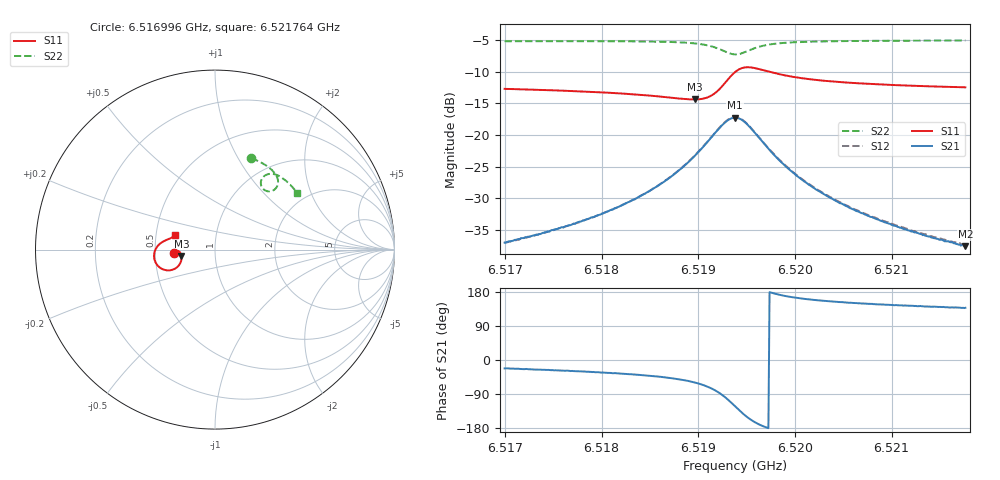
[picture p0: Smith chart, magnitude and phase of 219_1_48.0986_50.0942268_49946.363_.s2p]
#  HZ  S  RI  R  50.00
! Rohde & Schwarz Vector Network Analyzer
! Rohde-Schwarz,ZNB20-2Port,1311601062101988,3.16
! Created: UTC 12/23/2023, 3:56:33 AM
! freq[Hz]  re:S11  im:S11  re:S21  im:S21  re:S12  im:S12  re:S22  im:S22
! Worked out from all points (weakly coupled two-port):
!   401 points, 6.516996 GHz to 6.521764 GHz, reference 50 ohm
!   highest |S21| = -17.28 dB at 6.51938 GHz (marker M1); lowest = -37.6 dB at 6.521764 GHz (marker M2)
!   lowest |S11| = -14.4 dB at 6.518963 GHz (marker M3), VSWR 1.47, Z = 34.2 - j2.52 ohm
!   |S11| at or under -10 dB: start of sweep to 6.519388 GHz; 6.519726 GHz to end of sweep
!   |S22| runs from -7.3 to -5.1 dB; largest |S21 - S12| = 0.0043
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6.5169964e9  -0.2302 -0.0171  0.0131 -0.00535  0.0133 -0.00483  0.203 0.5093
6.517354e9  -0.2264 -0.0119  0.0149 -0.00707  0.0152 -0.00655  0.2294 0.4984
6.517795e9  -0.2202 -0.00673  0.0181 -0.0104  0.0183 -0.0099  0.2619 0.4822
6.5181883e9  -0.2125 -0.00457  0.0222 -0.0159  0.0227 -0.0153  0.2915 0.4639
6.5183671e9  -0.2081 -0.00524  0.0248 -0.02  0.0256 -0.0194  0.305 0.4538
6.5185936e9  -0.2009 -0.00913  0.0289 -0.0278  0.03 -0.0271  0.3226 0.438
6.5187843e9  -0.1934 -0.0178  0.0328 -0.0395  0.0342 -0.0385  0.3374 0.42
6.5189631e9  -0.187 -0.0355  0.0348 -0.0587  0.0368 -0.058  0.349 0.3953
6.5190703e9  -0.187 -0.0549  0.0315 -0.0775  0.0341 -0.077  0.3515 0.3742
6.5191538e9  -0.1939 -0.0763  0.0219 -0.0968  0.025 -0.0968  0.3468 0.3541
6.5192849e9  -0.2362 -0.1121  -0.0213 -0.1251  -0.0178 -0.1267  0.3142 0.3257
6.5193802e9  -0.2935 -0.1084  -0.0723 -0.1161  -0.0696 -0.1191  0.2746 0.3329
6.5194279e9  -0.3184 -0.0899  -0.0925 -0.0974  -0.0904 -0.1008  0.2606 0.349
6.5194875e9  -0.3359 -0.0589  -0.1046 -0.0684  -0.1036 -0.0719  0.2552 0.3728
6.5195828e9  -0.3366 -0.0132  -0.1003 -0.0292  -0.1002 -0.0324  0.267 0.4028
6.5196901e9  -0.3209 0.0181  -0.0835 -0.00485  -0.084 -0.00746  0.2898 0.4185
6.5199166e9  -0.2896 0.0447  -0.0543 0.0114  -0.0552 0.00996  0.3296 0.4204
6.5201788e9  -0.2681 0.0548  -0.0364 0.0139  -0.0372 0.0131  0.36 0.4084
6.5205483e9  -0.2509 0.0618  -0.0238 0.0129  -0.0245 0.0125  0.3904 0.3876
6.5209774e9  -0.2388 0.068  -0.0164 0.0113  -0.017 0.011  0.4181 0.3622
6.5214064e9  -0.23 0.074  -0.012 0.00992  -0.0126 0.00974  0.4415 0.3363
6.521764e9  -0.224 0.0787  -0.00981 0.0089  -0.0103 0.00885  0.4591 0.314
